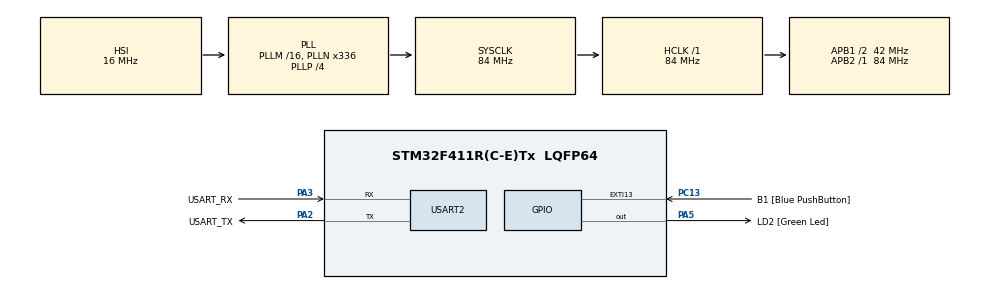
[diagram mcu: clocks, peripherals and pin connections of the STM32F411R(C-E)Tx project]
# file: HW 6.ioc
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Mcu.Family=STM32F4
Mcu.Name=STM32F411R(C-E)Tx
Mcu.Package=LQFP64
NVIC.EXTI15_10_IRQn=true\:0\:0\:false\:false\:true\:true\:true\:true
NVIC.PriorityGroup=NVIC_PRIORITYGROUP_0
PA13.GPIO_Label=TMS
PA13.Mode=Serial_Wire
PA13.Signal=SYS_JTMS-SWDIO
PA14.GPIO_Label=TCK
PA14.Mode=Serial_Wire
PA14.Signal=SYS_JTCK-SWCLK
PA2.GPIO_Label=USART_TX
PA2.Mode=Asynchronous
PA2.Signal=USART2_TX
PA3.GPIO_Label=USART_RX
PA3.Mode=Asynchronous
PA3.Signal=USART2_RX
PA5.GPIO_Label=LD2 [Green Led]
PA5.Signal=GPIO_Output
PB3.GPIO_Label=SWO
PB3.Signal=SYS_JTDO-SWO
PC13-ANTI_TAMP.GPIO_Label=B1 [Blue PushButton]
PC13-ANTI_TAMP.GPIO_ModeDefaultEXTI=GPIO_MODE_IT_FALLING
PC13-ANTI_TAMP.GPIO_PuPd=GPIO_PULLUP
PC13-ANTI_TAMP.Signal=GPXTI13
PC14-OSC32_IN.Mode=LSE-External-Oscillator
PC14-OSC32_IN.Signal=RCC_OSC32_IN
PC15-OSC32_OUT.Mode=LSE-External-Oscillator
PC15-OSC32_OUT.Signal=RCC_OSC32_OUT
PH0\ -\ OSC_IN.Mode=HSE-External-Clock-Source
PH0\ -\ OSC_IN.Signal=RCC_OSC_IN
PH1\ -\ OSC_OUT.Mode=HSE-External-Clock-Source
PH1\ -\ OSC_OUT.Signal=RCC_OSC_OUT
ProjectManager.HeapSize=0x200
ProjectManager.StackSize=0x400
ProjectManager.TargetToolchain=STM32CubeIDE
RCC.48MHZClocksFreq_Value=84000000
RCC.AHBFreq_Value=84000000
RCC.APB1CLKDivider=RCC_HCLK_DIV2
RCC.APB1Freq_Value=42000000
RCC.APB1TimFreq_Value=84000000
RCC.APB2Freq_Value=84000000
RCC.APB2TimFreq_Value=84000000
RCC.CortexFreq_Value=84000000
RCC.FLatency-AdvancedSettings=FLASH_LATENCY_2
RCC.HCLKFreq_Value=84000000
RCC.HSE_VALUE=8000000
RCC.HSI_VALUE=16000000
RCC.PLLN=336
RCC.PLLP=RCC_PLLP_DIV4
RCC.SYSCLKFreq_VALUE=84000000
RCC.SYSCLKSource=RCC_SYSCLKSOURCE_PLLCLK
RCC.VCOOutputFreq_Value=336000000
USART2.VirtualMode=VM_ASYNC
board=NUCLEO-F411RE

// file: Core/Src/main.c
/* USER CODE BEGIN Header */
/**
  ******************************************************************************
  * @file           : main.c
  * @brief          : Main program body
  ******************************************************************************
  * @attention
  *
  * Copyright (c) 2026 STMicroelectronics.
  * All rights reserved.
  *
  * This software is licensed under terms that can be found in the LICENSE file
  * in the root directory of this software component.
  * If no LICENSE file comes with this software, it is provided AS-IS.
  *
  ******************************************************************************
  */
/* USER CODE END Header */
#include "main.h"

/* USER CODE BEGIN Includes */
#include <stdio.h>
/* USER CODE END Includes */

UART_HandleTypeDef huart2;

/* USER CODE BEGIN PV */
// =======================================================================
volatile uint8_t button_pressed = 0;  // Флаг кнопки
// =======================================================================
/* USER CODE END PV */

void SystemClock_Config(void);
static void MX_GPIO_Init(void);
static void MX_USART2_UART_Init(void);
/* USER CODE BEGIN PFP */
// =======================================================================
void Enter_Sleep(void);
// =======================================================================
/* USER CODE END PFP */

/* USER CODE BEGIN 0 */
// =======================================================================
/**
  * @brief  Переход в режим SLEEP
  */
void Enter_Sleep(void)
{
	   // 1. Гасим LED
	HAL_GPIO_WritePin(LD2_GPIO_Port, LD2_Pin, GPIO_PIN_RESET);

	// 2. Отключаем SysTick (иначе проснётся через 1 мс)
	SysTick->CTRL &= ~SysTick_CTRL_TICKINT_Msk;

	// 3. Вход в сон (WFI = ждём прерывания)
	HAL_PWR_EnterSLEEPMode(PWR_MAINREGULATOR_ON, PWR_SLEEPENTRY_WFI);

	// 4. После пробуждения: включаем SysTick обратно
	SysTick->CTRL |= SysTick_CTRL_TICKINT_Msk;
}

/**
  * @brief  Callback прерывания кнопки (PC13)
  */
void HAL_GPIO_EXTI_Callback(uint16_t GPIO_Pin)
{
    if(GPIO_Pin == GPIO_PIN_13)
    {
        button_pressed = 1;  // Ставим флаг пробуждения
    }
}

// =======================================================================
/* USER CODE END 0 */

int main(void)
{

  /* MCU Configuration--------------------------------------------------------*/

  /* Reset of all peripherals, Initializes the Flash interface and the Systick. */
  HAL_Init();

  /* Configure the system clock */
  SystemClock_Config();

  /* Initialize all configured peripherals */
  MX_GPIO_Init();
  MX_USART2_UART_Init();
  /* USER CODE BEGIN 2 */
  // =======================================================================
  // Индикация старта (3 мигания)
   for(int i = 0; i < 3; i++) {
       HAL_GPIO_TogglePin(LD2_GPIO_Port, LD2_Pin);
       HAL_Delay(200);
   }
  // =======================================================================
  /* USER CODE END 2 */

  /* Infinite loop */
  /* USER CODE BEGIN WHILE */
  while (1)
  {
	// === 1. РАБОТА: 5 секунд мигаем ===
	button_pressed = 0;  // Сброс флага
	uint32_t start = HAL_GetTick();

	while(HAL_GetTick() - start < 5000)  // 5 секунд
	{
		HAL_GPIO_TogglePin(LD2_GPIO_Port, LD2_Pin);
		HAL_Delay(500);

		// Если нажали кнопку — сразу выходим из цикла
		if(button_pressed) break;
	}

	// === 2. СОН: если не прервали кнопкой ===
	if(!button_pressed)
	{
		Enter_Sleep();  // МК засыпает здесь
	}

	// === 3. ПРОБУЖДЕНИЕ: индикация ===
	// Код сюда попадает только после нажатия кнопки
	for(int i = 0; i < 3; i++) {
		HAL_GPIO_TogglePin(LD2_GPIO_Port, LD2_Pin);
		HAL_Delay(200);
	}
    /* USER CODE END WHILE */

  }
}

void SystemClock_Config(void)
{
  RCC_OscInitTypeDef RCC_OscInitStruct = {0};
  RCC_ClkInitTypeDef RCC_ClkInitStruct = {0};

  /** Configure the main internal regulator output voltage
  */
  __HAL_RCC_PWR_CLK_ENABLE();
  __HAL_PWR_VOLTAGESCALING_CONFIG(PWR_REGULATOR_VOLTAGE_SCALE1);

  /** Initializes the RCC Oscillators according to the specified parameters
  * in the RCC_OscInitTypeDef structure.
  */
  RCC_OscInitStruct.OscillatorType = RCC_OSCILLATORTYPE_HSI;
  RCC_OscInitStruct.HSIState = RCC_HSI_ON;
  RCC_OscInitStruct.HSICalibrationValue = RCC_HSICALIBRATION_DEFAULT;
  RCC_OscInitStruct.PLL.PLLState = RCC_PLL_ON;
  RCC_OscInitStruct.PLL.PLLSource = RCC_PLLSOURCE_HSI;
  RCC_OscInitStruct.PLL.PLLM = 16;
  RCC_OscInitStruct.PLL.PLLN = 336;
  RCC_OscInitStruct.PLL.PLLP = RCC_PLLP_DIV4;
  RCC_OscInitStruct.PLL.PLLQ = 4;
  if (HAL_RCC_OscConfig(&RCC_OscInitStruct) != HAL_OK)
  {
    Error_Handler();
  }

  /** Initializes the CPU, AHB and APB buses clocks
  */
  RCC_ClkInitStruct.ClockType = RCC_CLOCKTYPE_HCLK|RCC_CLOCKTYPE_SYSCLK
                              |RCC_CLOCKTYPE_PCLK1|RCC_CLOCKTYPE_PCLK2;
  RCC_ClkInitStruct.SYSCLKSource = RCC_SYSCLKSOURCE_PLLCLK;
  RCC_ClkInitStruct.AHBCLKDivider = RCC_SYSCLK_DIV1;
  RCC_ClkInitStruct.APB1CLKDivider = RCC_HCLK_DIV2;
  RCC_ClkInitStruct.APB2CLKDivider = RCC_HCLK_DIV1;

  if (HAL_RCC_ClockConfig(&RCC_ClkInitStruct, FLASH_LATENCY_2) != HAL_OK)
  {
    Error_Handler();
  }
}

static void MX_USART2_UART_Init(void)
{

  huart2.Instance = USART2;
  huart2.Init.BaudRate = 115200;
  huart2.Init.WordLength = UART_WORDLENGTH_8B;
  huart2.Init.StopBits = UART_STOPBITS_1;
  huart2.Init.Parity = UART_PARITY_NONE;
  huart2.Init.Mode = UART_MODE_TX_RX;
  huart2.Init.HwFlowCtl = UART_HWCONTROL_NONE;
  huart2.Init.OverSampling = UART_OVERSAMPLING_16;
  if (HAL_UART_Init(&huart2) != HAL_OK)
  {
    Error_Handler();
  }

}

static void MX_GPIO_Init(void)
{
  GPIO_InitTypeDef GPIO_InitStruct = {0};

  /* GPIO Ports Clock Enable */
  __HAL_RCC_GPIOC_CLK_ENABLE();
  __HAL_RCC_GPIOH_CLK_ENABLE();
  __HAL_RCC_GPIOA_CLK_ENABLE();
  __HAL_RCC_GPIOB_CLK_ENABLE();

  /*Configure GPIO pin Output Level */
  HAL_GPIO_WritePin(LD2_GPIO_Port, LD2_Pin, GPIO_PIN_RESET);

  /*Configure GPIO pin : B1_Pin */
  GPIO_InitStruct.Pin = B1_Pin;
  GPIO_InitStruct.Mode = GPIO_MODE_IT_FALLING;
  GPIO_InitStruct.Pull = GPIO_PULLUP;
  HAL_GPIO_Init(B1_GPIO_Port, &GPIO_InitStruct);

  /*Configure GPIO pin : LD2_Pin */
  GPIO_InitStruct.Pin = LD2_Pin;
  GPIO_InitStruct.Mode = GPIO_MODE_OUTPUT_PP;
  GPIO_InitStruct.Pull = GPIO_NOPULL;
  GPIO_InitStruct.Speed = GPIO_SPEED_FREQ_LOW;
  HAL_GPIO_Init(LD2_GPIO_Port, &GPIO_InitStruct);

  /* EXTI interrupt init*/
  HAL_NVIC_SetPriority(EXTI15_10_IRQn, 0, 0);
  HAL_NVIC_EnableIRQ(EXTI15_10_IRQn);

}

void Error_Handler(void)
{
  __disable_irq();
  while (1)
  {
  }
}
